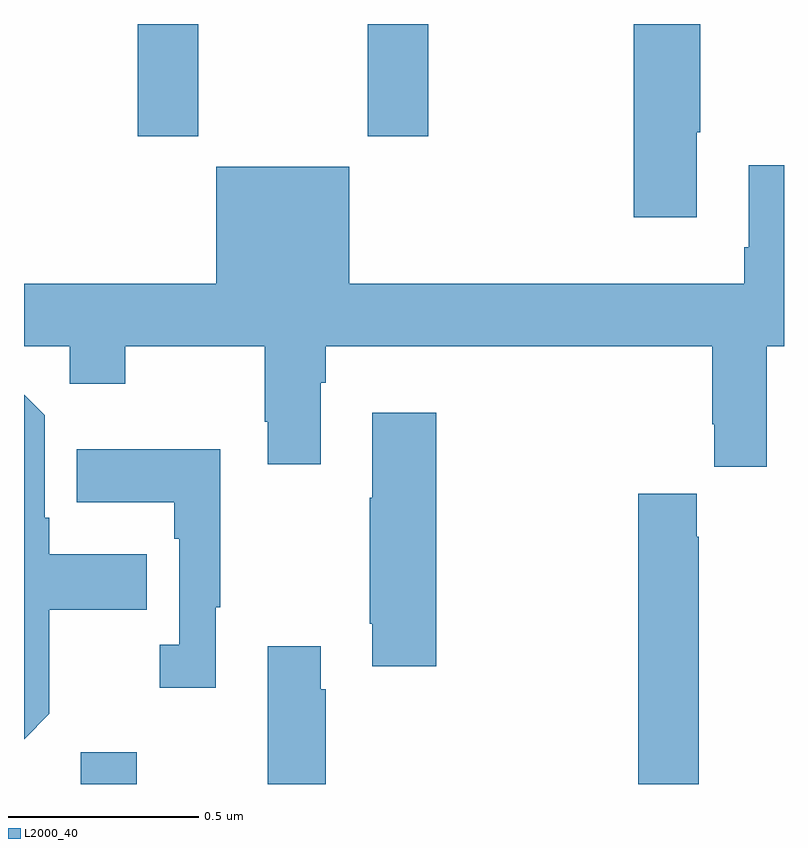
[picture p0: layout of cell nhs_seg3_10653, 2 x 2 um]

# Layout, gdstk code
import gdstk
lib = gdstk.Library(unit=1e-6, precision=1e-09)
def R(c, l, rs):  # rectangles x0, y0, x1, y1
    for r in rs: c.add(gdstk.rectangle(r[:2], r[2:], *l))
def P(c, l, *ps):  # polygons
    for p in ps: c.add(gdstk.Polygon(p, *l))
L2000_40 = (2000, 40)

nhs_seg3_10653 = lib.new_cell('nhs_seg3_10653')
R(nhs_seg3_10653, L2000_40, [(243.149,730.4,243.297,730.483), (243.299,732.105,243.459,732.4), (243.904,732.105,244.064,732.4)])
P(nhs_seg3_10653, L2000_40, [(244.771,732.115),(244.779,732.115),(244.779,732.4),(244.604,732.4),(244.604,731.892),(244.771,731.892)],
  [(244.954,731.552),(245,731.552),(245,732.028),(244.907,732.028),(244.907,731.812),(244.895,731.812),(244.895,731.716),(243.856,731.716),(243.856,732.025),(243.506,732.025),(243.506,731.716),(243,731.716),(243,731.552),(243.12,731.552),(243.12,731.453),(243.267,731.453),(243.267,731.552),(243.634,731.552),(243.634,731.353),(243.641,731.353),(243.641,731.241),(243.781,731.241),(243.781,731.456),(243.794,731.456),(243.794,731.552),(244.811,731.552),(244.811,731.347),(244.817,731.347),(244.817,731.235),(244.954,731.235)],
  [(243.067,730.585),(243.067,730.858),(243.323,730.858),(243.323,731.005),(243.067,731.005),(243.067,731.101),(243.054,731.101),(243.054,731.37),(243,731.424),(243,730.518)],
  [(244.085,731.377),(243.917,731.377),(243.917,731.153),(243.91,731.153),(243.91,730.822),(243.917,730.822),(243.917,730.71),(244.085,730.71)],
  [(243.505,730.865),(243.517,730.865),(243.517,731.281),(243.139,731.281),(243.139,731.141),(243.396,731.141),(243.396,731.045),(243.408,731.045),(243.408,730.766),(243.357,730.766),(243.357,730.653),(243.505,730.653)],
  [(244.776,731.051),(244.771,731.051),(244.771,731.164),(244.616,731.164),(244.616,730.4),(244.776,730.4)],
  [(243.794,730.649),(243.781,730.649),(243.781,730.762),(243.641,730.762),(243.641,730.4),(243.794,730.4)])

lib.write_gds('nhs_seg3_10653.gds')
